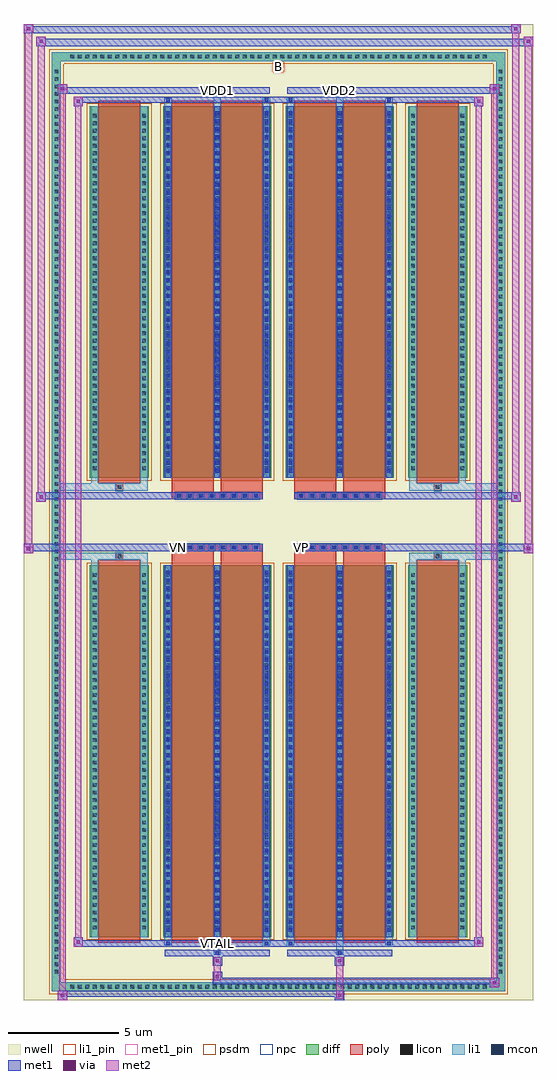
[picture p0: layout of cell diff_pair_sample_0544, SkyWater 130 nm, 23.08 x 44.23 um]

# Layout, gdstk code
import gdstk
lib = gdstk.Library(unit=1e-6, precision=5e-09)
def R(c, l, rs):  # rectangles x0, y0, x1, y1
    for r in rs: c.add(gdstk.rectangle(r[:2], r[2:], *l))
def A(c, l, x, y, w, h, nx, ny, dx, dy):  # array of equal rectangles
    R(c, l, [(x+i*dx, y+j*dy, x+i*dx+w, y+j*dy+h) for i in range(nx) for j in range(ny)])
def P(c, l, *ps):  # polygons
    for p in ps: c.add(gdstk.Polygon(p, *l))
nwell = (64, 20)
diff = (65, 20)
poly = (66, 20)
licon = (66, 44)
li1_pin = (67, 16)
li1 = (67, 20)
mcon = (67, 44)
met1_pin = (68, 16)
met1 = (68, 20)
via = (68, 44)
met2 = (69, 20)
psdm = (94, 20)
npc = (95, 20)

diff_pair_sample_0544 = lib.new_cell('diff_pair_sample_0544')
R(diff_pair_sample_0544, nwell, [(-11.54,-21.68,11.54,22.55), (-8.86,-19.87,-0.01,-0.805), (0.01,-19.87,8.86,-0.805), (-8.86,0.805,-0.01,19.87), (0.01,0.805,8.86,19.87)])
A(diff_pair_sample_0544, diff, -9.555, -21.28, 0.41, 0.41, 56, 2, 0.34, 42.15)
A(diff_pair_sample_0544, diff, -10.27, -20.605, 0.41, 0.41, 1, 121, 0, 0.34)
A(diff_pair_sample_0544, diff, 9.86, -20.605, 0.41, 0.41, 1, 121, 0, 0.34)
R(diff_pair_sample_0544, diff, [(-9.555,-21.28,9.555,-20.87), (-10.27,-20.605,-9.86,20.605), (9.86,-20.605,10.27,20.605), (-8.55,-18.825,-5.87,-1.985), (-5.23,-18.825,-0.32,-1.985), (0.32,-18.825,5.23,-1.985), (5.87,-18.825,8.55,-1.985), (-8.55,1.985,-5.87,18.825), (-5.23,1.985,-0.32,18.825), (0.32,1.985,5.23,18.825), (5.87,1.985,8.55,18.825), (-9.555,20.87,9.555,21.28)])
P(diff_pair_sample_0544, diff, [(10.27,21.28),(-10.27,21.28),(-10.27,-20.87),(-9.86,-20.87),(-9.86,20.87),(9.86,20.87),(9.86,-20.87),(-9.86,-20.87),(-10.27,-20.87),(-10.27,-21.28),(10.27,-21.28)])
A(diff_pair_sample_0544, poly, -4.69, -1.335, 0.33, 0.33, 8, 2, 0.5, 2.34)
A(diff_pair_sample_0544, poly, 0.86, -1.335, 0.33, 0.33, 8, 2, 0.5, 2.34)
R(diff_pair_sample_0544, poly, [(-8.16,-19.075,-6.26,-1.735), (-4.84,-19.075,-2.94,-1.735), (-2.61,-19.075,-0.71,-1.735), (0.71,-19.075,2.61,-1.735), (2.94,-19.075,4.84,-1.735), (6.26,-19.075,8.16,-1.735), (-7.375,-1.735,-7.045,-1.405), (-7.375,-1.735,-7.045,-1.405), (-4.84,-1.735,-2.94,-1.335), (-2.61,-1.735,-0.71,-1.335), (0.71,-1.735,2.61,-1.335), (2.94,-1.735,4.84,-1.335), (7.045,-1.735,7.375,-1.405), (7.045,-1.735,7.375,-1.405), (-4.84,-1.335,-0.71,-1.005), (0.71,-1.335,4.84,-1.005), (-4.84,1.005,-0.71,1.335), (0.71,1.005,4.84,1.335), (-4.84,1.335,-2.94,1.735), (-2.61,1.335,-0.71,1.735), (0.71,1.335,2.61,1.735), (2.94,1.335,4.84,1.735), (-7.375,1.405,-7.045,1.735), (-7.375,1.405,-7.045,1.735), (7.045,1.405,7.375,1.735), (7.045,1.405,7.375,1.735), (-8.16,1.735,-6.26,19.075), (-4.84,1.735,-2.94,19.075), (-2.61,1.735,-0.71,19.075), (0.71,1.735,2.61,19.075), (2.94,1.735,4.84,19.075), (6.26,1.735,8.16,19.075)])
A(diff_pair_sample_0544, licon, -9.435, -21.16, 0.17, 0.17, 56, 2, 0.34, 42.15)
A(diff_pair_sample_0544, licon, -10.15, -20.485, 0.17, 0.17, 1, 121, 0, 0.34)
A(diff_pair_sample_0544, licon, 9.98, -20.485, 0.17, 0.17, 1, 121, 0, 0.34)
A(diff_pair_sample_0544, licon, -8.41, -18.48, 0.17, 0.17, 1, 48, 0, 0.34)
A(diff_pair_sample_0544, licon, -6.18, -18.48, 0.17, 0.17, 1, 48, 0, 0.34)
A(diff_pair_sample_0544, licon, -5.09, -18.48, 0.17, 0.17, 3, 48, 2.23, 0.34)
A(diff_pair_sample_0544, licon, 0.46, -18.48, 0.17, 0.17, 3, 48, 2.23, 0.34)
A(diff_pair_sample_0544, licon, 6.01, -18.48, 0.17, 0.17, 1, 48, 0, 0.34)
A(diff_pair_sample_0544, licon, 8.24, -18.48, 0.17, 0.17, 1, 48, 0, 0.34)
A(diff_pair_sample_0544, licon, -4.61, -1.255, 0.17, 0.17, 8, 2, 0.5, 2.34)
A(diff_pair_sample_0544, licon, 0.94, -1.255, 0.17, 0.17, 8, 2, 0.5, 2.34)
A(diff_pair_sample_0544, licon, -8.41, 2.33, 0.17, 0.17, 1, 48, 0, 0.34)
A(diff_pair_sample_0544, licon, -6.18, 2.33, 0.17, 0.17, 1, 48, 0, 0.34)
A(diff_pair_sample_0544, licon, -5.09, 2.33, 0.17, 0.17, 3, 48, 2.23, 0.34)
A(diff_pair_sample_0544, licon, 0.46, 2.33, 0.17, 0.17, 3, 48, 2.23, 0.34)
A(diff_pair_sample_0544, licon, 6.01, 2.33, 0.17, 0.17, 1, 48, 0, 0.34)
A(diff_pair_sample_0544, licon, 8.24, 2.33, 0.17, 0.17, 1, 48, 0, 0.34)
R(diff_pair_sample_0544, licon, [(-7.295,-1.655,-7.125,-1.485), (7.125,-1.655,7.295,-1.485), (-7.295,1.485,-7.125,1.655), (7.125,1.485,7.295,1.655)])
R(diff_pair_sample_0544, li1_pin, [(-0.25,20.37,0.25,20.87)])
A(diff_pair_sample_0544, li1, -9.515, -21.24, 0.33, 0.33, 56, 2, 0.34, 42.15)
A(diff_pair_sample_0544, li1, -10.23, -20.565, 0.33, 0.33, 1, 121, 0, 0.34)
A(diff_pair_sample_0544, li1, 9.9, -20.565, 0.33, 0.33, 1, 121, 0, 0.34)
A(diff_pair_sample_0544, li1, -5.17, -18.825, 0.33, 16.84, 3, 2, 2.23, 20.81)
A(diff_pair_sample_0544, li1, 0.38, -18.825, 0.33, 16.84, 3, 2, 2.23, 20.81)
A(diff_pair_sample_0544, li1, -5.09, -18.59, 0.17, 0.17, 3, 46, 2.23, 0.36)
A(diff_pair_sample_0544, li1, -5.09, -18.59, 0.17, 16.37, 3, 2, 2.23, 20.81)
A(diff_pair_sample_0544, li1, 0.46, -18.59, 0.17, 0.17, 3, 46, 2.23, 0.36)
A(diff_pair_sample_0544, li1, 0.46, -18.59, 0.17, 16.37, 3, 2, 2.23, 20.81)
A(diff_pair_sample_0544, li1, -8.49, -18.56, 0.33, 0.33, 1, 48, 0, 0.34)
A(diff_pair_sample_0544, li1, -6.26, -18.56, 0.33, 0.33, 1, 48, 0, 0.34)
A(diff_pair_sample_0544, li1, -5.17, -18.56, 0.33, 0.33, 3, 48, 2.23, 0.34)
A(diff_pair_sample_0544, li1, 0.38, -18.56, 0.33, 0.33, 3, 48, 2.23, 0.34)
A(diff_pair_sample_0544, li1, 5.93, -18.56, 0.33, 0.33, 1, 48, 0, 0.34)
A(diff_pair_sample_0544, li1, 8.16, -18.56, 0.33, 0.33, 1, 48, 0, 0.34)
A(diff_pair_sample_0544, li1, -4.69, -1.335, 0.33, 0.33, 8, 2, 0.5, 2.34)
A(diff_pair_sample_0544, li1, 0.86, -1.335, 0.33, 0.33, 8, 2, 0.5, 2.34)
A(diff_pair_sample_0544, li1, -5.09, 2.22, 0.17, 0.17, 3, 46, 2.23, 0.36)
A(diff_pair_sample_0544, li1, 0.46, 2.22, 0.17, 0.17, 3, 46, 2.23, 0.36)
A(diff_pair_sample_0544, li1, -8.49, 2.25, 0.33, 0.33, 1, 48, 0, 0.34)
A(diff_pair_sample_0544, li1, -6.26, 2.25, 0.33, 0.33, 1, 48, 0, 0.34)
A(diff_pair_sample_0544, li1, -5.17, 2.25, 0.33, 0.33, 3, 48, 2.23, 0.34)
A(diff_pair_sample_0544, li1, 0.38, 2.25, 0.33, 0.33, 3, 48, 2.23, 0.34)
A(diff_pair_sample_0544, li1, 5.93, 2.25, 0.33, 0.33, 1, 48, 0, 0.34)
A(diff_pair_sample_0544, li1, 8.16, 2.25, 0.33, 0.33, 1, 48, 0, 0.34)
R(diff_pair_sample_0544, li1, [(-10.27,-21.28,-9.86,-20.87), (-10.27,-21.28,-9.86,-20.87), (-9.86,-21.28,9.86,-20.87), (9.86,-21.28,10.27,-20.87), (9.86,-21.28,10.27,-20.87), (-10.27,-20.87,-9.86,20.87), (9.86,-20.87,10.27,20.87), (-2.94,-19.63,-2.61,-18.825), (-2.86,-19.63,-2.69,-19.46), (2.61,-19.63,2.94,-18.825), (2.69,-19.63,2.86,-19.46), (-5.17,-19.2,-4.84,-18.825), (-5.09,-19.2,-4.92,-19.03), (-0.71,-19.2,-0.38,-18.825), (-0.63,-19.2,-0.46,-19.03), (0.38,-19.2,0.71,-18.825), (0.46,-19.2,0.63,-19.03), (4.84,-19.2,5.17,-18.825), (4.92,-19.2,5.09,-19.03), (-8.49,-18.825,-8.16,-1.985), (-6.26,-18.825,-5.93,-1.985), (5.93,-18.825,6.26,-1.985), (8.16,-18.825,8.49,-1.985), (-8.49,-1.985,-8.16,-1.405), (-6.26,-1.985,-5.93,-1.405), (5.93,-1.985,6.26,-1.405), (8.16,-1.985,8.49,-1.405), (-10.27,-1.735,-7.375,-1.405), (-8.49,-1.735,-7.375,-1.405), (-7.375,-1.735,-7.045,-1.405), (-7.045,-1.735,-5.93,-1.405), (5.93,-1.735,7.045,-1.405), (7.045,-1.735,7.375,-1.405), (7.045,-1.735,10.27,-1.405), (7.375,-1.735,8.49,-1.405), (-10.27,1.405,-7.375,1.735), (-8.49,1.405,-7.375,1.735), (-8.49,1.405,-8.16,1.985), (-7.375,1.405,-7.045,1.735), (-7.045,1.405,-5.93,1.735), (-6.26,1.405,-5.93,1.985), (5.93,1.405,7.045,1.735), (5.93,1.405,6.26,1.985), (7.045,1.405,7.375,1.735), (7.045,1.405,10.27,1.735), (7.375,1.405,8.49,1.735), (8.16,1.405,8.49,1.985), (-8.49,1.985,-8.16,18.825), (-6.26,1.985,-5.93,18.825), (5.93,1.985,6.26,18.825), (8.16,1.985,8.49,18.825), (-5.17,18.825,-4.84,19.2), (-2.94,18.825,-2.61,19.63), (-0.71,18.825,-0.38,19.2), (0.38,18.825,0.71,19.2), (2.61,18.825,2.94,19.63), (4.84,18.825,5.17,19.2), (-5.09,19.03,-4.92,19.2), (-0.63,19.03,-0.46,19.2), (0.46,19.03,0.63,19.2), (4.92,19.03,5.09,19.2), (-2.86,19.46,-2.69,19.63), (2.69,19.46,2.86,19.63), (-10.27,20.87,-9.86,21.28), (-10.27,20.87,-9.86,21.28), (-9.86,20.87,9.86,21.28), (9.86,20.87,10.27,21.28), (9.86,20.87,10.27,21.28)])
A(diff_pair_sample_0544, mcon, -5.09, -18.59, 0.17, 0.17, 3, 46, 2.23, 0.36)
A(diff_pair_sample_0544, mcon, 0.46, -18.59, 0.17, 0.17, 3, 46, 2.23, 0.36)
A(diff_pair_sample_0544, mcon, -4.61, -1.255, 0.17, 0.17, 8, 2, 0.5, 2.34)
A(diff_pair_sample_0544, mcon, 0.94, -1.255, 0.17, 0.17, 8, 2, 0.5, 2.34)
A(diff_pair_sample_0544, mcon, -5.09, 2.22, 0.17, 0.17, 3, 46, 2.23, 0.36)
A(diff_pair_sample_0544, mcon, 0.46, 2.22, 0.17, 0.17, 3, 46, 2.23, 0.36)
R(diff_pair_sample_0544, mcon, [(-2.86,-19.63,-2.69,-19.46), (2.69,-19.63,2.86,-19.46), (-5.09,-19.2,-4.92,-19.03), (-0.63,-19.2,-0.46,-19.03), (0.46,-19.2,0.63,-19.03), (4.92,-19.2,5.09,-19.03), (-5.09,19.03,-4.92,19.2), (-0.63,19.03,-0.46,19.2), (0.46,19.03,0.63,19.2), (4.92,19.03,5.09,19.2), (-2.86,19.46,-2.69,19.63), (2.69,19.46,2.86,19.63)])
R(diff_pair_sample_0544, met1_pin, [(-2.91,-19.24,-2.64,-18.97), (-4.66,-1.295,-4.39,-1.025), (0.89,-1.295,1.16,-1.025), (-2.91,19.42,-2.64,19.69), (2.64,19.42,2.91,19.69)])
A(diff_pair_sample_0544, met1, -5.15, -18.825, 0.29, 16.84, 3, 2, 2.23, 20.81)
A(diff_pair_sample_0544, met1, 0.4, -18.825, 0.29, 16.84, 3, 2, 2.23, 20.81)
A(diff_pair_sample_0544, met1, -5.15, -18.65, 0.29, 0.29, 3, 46, 2.23, 0.36)
A(diff_pair_sample_0544, met1, 0.4, -18.65, 0.29, 0.29, 3, 46, 2.23, 0.36)
A(diff_pair_sample_0544, met1, -4.67, -1.315, 0.29, 0.29, 8, 2, 0.5, 2.34)
A(diff_pair_sample_0544, met1, 0.88, -1.315, 0.29, 0.29, 8, 2, 0.5, 2.34)
A(diff_pair_sample_0544, met1, -5.15, 2.16, 0.29, 0.29, 3, 46, 2.23, 0.36)
A(diff_pair_sample_0544, met1, 0.4, 2.16, 0.29, 0.29, 3, 46, 2.23, 0.36)
R(diff_pair_sample_0544, met1, [(-10,-21.68,-9.57,-21.25), (2.56,-21.68,2.99,-21.25), (-10,-21.54,2.99,-21.25), (9.57,-21.11,10,-20.68), (-2.99,-20.97,10,-20.68), (-2.99,-20.83,-2.56,-20.4), (-2.99,-20.12,-2.56,-19.69), (2.56,-20.12,2.99,-19.69), (-5.15,-19.69,-0.4,-19.4), (-2.92,-19.69,-2.63,-19.4), (0.4,-19.69,5.15,-19.4), (2.63,-19.69,2.92,-19.4), (-9.29,-19.26,-8.86,-18.83), (-9.29,-19.26,-5.15,-18.97), (-5.15,-19.26,-4.86,-18.97), (-5.15,-19.26,-0.4,-18.97), (-0.69,-19.26,-0.4,-18.97), (-0.4,-19.26,0.4,-18.97), (0.4,-19.26,0.69,-18.97), (0.4,-19.26,5.15,-18.97), (4.86,-19.26,5.15,-18.97), (5.15,-19.26,9.29,-18.97), (8.86,-19.26,9.29,-18.83), (-11.54,-1.435,-11.11,-1.005), (11.11,-1.435,11.54,-1.005), (-11.54,-1.335,-0.71,-1.005), (-4.84,-1.335,-0.71,-1.005), (0.71,-1.335,4.84,-1.005), (0.71,-1.335,11.54,-1.005), (-10.97,0.905,-10.54,1.335), (10.54,0.905,10.97,1.335), (-10.97,1.005,-4.84,1.335), (-4.84,1.005,-0.71,1.335), (0.71,1.005,4.84,1.335), (4.84,1.005,10.97,1.335), (-9.29,18.83,-8.86,19.26), (8.86,18.83,9.29,19.26), (-9.29,18.97,-5.15,19.26), (-5.15,18.97,-4.86,19.26), (-5.15,18.97,-0.4,19.26), (-0.69,18.97,-0.4,19.26), (-0.4,18.97,0.4,19.26), (0.4,18.97,0.69,19.26), (0.4,18.97,5.15,19.26), (4.86,18.97,5.15,19.26), (5.15,18.97,9.29,19.26), (-10,19.4,-9.57,19.83), (-10,19.4,-5.15,19.69), (-5.15,19.4,-0.4,19.69), (-2.92,19.4,-2.63,19.69), (0.4,19.4,5.15,19.69), (2.63,19.4,2.92,19.69), (5.15,19.4,10,19.69), (9.57,19.4,10,19.83), (-10.97,21.55,-10.54,21.98), (-10.97,21.55,-8.86,21.88), (-8.86,21.55,8.86,21.88), (8.86,21.55,11.54,21.88), (11.11,21.55,11.54,21.98), (-11.54,22.12,-11.11,22.55), (-11.54,22.12,-8.86,22.45), (-8.86,22.12,8.86,22.45), (8.86,22.12,10.97,22.45), (10.54,22.12,10.97,22.55)])
R(diff_pair_sample_0544, via, [(-9.86,-21.54,-9.71,-21.39), (2.7,-21.54,2.85,-21.39), (9.71,-20.97,9.86,-20.82), (-2.85,-20.69,-2.7,-20.54), (-2.85,-19.98,-2.7,-19.83), (2.7,-19.98,2.85,-19.83), (-9.15,-19.12,-9,-18.97), (9,-19.12,9.15,-18.97), (-11.4,-1.295,-11.25,-1.145), (11.25,-1.295,11.4,-1.145), (-10.83,1.045,-10.68,1.195), (10.68,1.045,10.83,1.195), (-9.15,18.97,-9,19.12), (9,18.97,9.15,19.12), (-9.86,19.54,-9.71,19.69), (9.71,19.54,9.86,19.69), (-10.83,21.69,-10.68,21.84), (11.25,21.69,11.4,21.84), (-11.4,22.26,-11.25,22.41), (10.68,22.26,10.83,22.41)])
R(diff_pair_sample_0544, met2, [(-10,-21.68,-9.57,-21.25), (-9.93,-21.68,-9.64,19.83), (-9.64,-21.68,-9.57,-21.25), (-9.95,-21.63,-9.62,-21.3), (2.61,-21.63,2.94,-21.3), (2.61,-21.3,2.94,-20.07), (9.57,-21.11,10,-20.68), (9.64,-21.11,9.93,19.83), (9.93,-21.11,10,-20.68), (9.62,-21.06,9.95,-20.73), (-2.94,-20.78,-2.61,-20.45), (-2.94,-20.45,-2.61,-20.07), (-2.94,-20.07,-2.61,-19.74), (2.61,-20.07,2.94,-19.74), (-9.29,-19.26,-8.86,-18.83), (-9.22,-19.26,-8.93,19.26), (-8.93,-19.26,-8.86,-18.83), (8.86,-19.26,9.29,-18.83), (8.93,-19.26,9.22,19.26), (9.22,-19.26,9.29,-18.83), (-9.24,-19.21,-8.91,-18.88), (8.91,-19.21,9.24,-18.88), (-11.54,-1.435,-11.11,-1.005), (-11.49,-1.435,-11.16,22.55), (-11.16,-1.435,-11.11,-1.005), (11.11,-1.435,11.54,-1.005), (11.16,-1.435,11.49,21.98), (11.49,-1.435,11.54,-1.005), (-11.49,-1.385,-11.16,-1.055), (11.16,-1.385,11.49,-1.055), (-10.97,0.905,-10.54,1.335), (-10.92,0.905,-10.59,21.98), (-10.59,0.905,-10.54,1.335), (10.54,0.905,10.97,1.335), (10.59,0.905,10.92,22.55), (10.92,0.905,10.97,1.335), (-10.92,0.955,-10.59,1.285), (10.59,0.955,10.92,1.285), (-9.29,18.83,-8.86,19.26), (-8.93,18.83,-8.86,19.26), (8.86,18.83,9.29,19.26), (9.22,18.83,9.29,19.26), (-9.24,18.88,-8.91,19.21), (8.91,18.88,9.24,19.21), (-10,19.4,-9.57,19.83), (-9.64,19.4,-9.57,19.83), (9.57,19.4,10,19.83), (9.93,19.4,10,19.83), (-9.95,19.45,-9.62,19.78), (9.62,19.45,9.95,19.78), (-10.97,21.55,-10.54,21.98), (-10.59,21.55,-10.54,21.98), (11.11,21.55,11.54,21.98), (11.49,21.55,11.54,21.98), (-10.92,21.6,-10.59,21.93), (11.16,21.6,11.49,21.93), (-11.54,22.12,-11.11,22.55), (-11.16,22.12,-11.11,22.55), (10.54,22.12,10.97,22.55), (10.92,22.12,10.97,22.55), (-11.49,22.17,-11.16,22.5), (10.59,22.17,10.92,22.5)])
R(diff_pair_sample_0544, psdm, [(-8.68,-18.955,-5.74,-1.855), (-5.36,-18.955,-0.19,-1.855), (0.19,-18.955,5.36,-1.855), (5.74,-18.955,8.68,-1.855), (-8.68,1.855,-5.74,18.955), (-5.36,1.855,-0.19,18.955), (0.19,1.855,5.36,18.955), (5.74,1.855,8.68,18.955)])
P(diff_pair_sample_0544, psdm, [(10.4,21.41),(-10.4,21.41),(-10.4,-20.74),(-9.73,-20.74),(-9.73,20.74),(9.73,20.74),(9.73,-20.74),(-9.73,-20.74),(-10.4,-20.74),(-10.4,-21.41),(10.4,-21.41)])
A(diff_pair_sample_0544, npc, -4.71, -1.355, 0.37, 0.37, 8, 2, 0.5, 2.34)
A(diff_pair_sample_0544, npc, 0.84, -1.355, 0.37, 0.37, 8, 2, 0.5, 2.34)
R(diff_pair_sample_0544, npc, [(-7.395,-1.755,-7.025,-1.385), (7.025,-1.755,7.395,-1.385), (-4.71,-1.355,-3.84,-0.985), (-4.71,-1.355,-3.84,-0.985), (-4.21,-1.355,-3.34,-0.985), (-4.21,-1.355,-3.34,-0.985), (-3.71,-1.355,-2.84,-0.985), (-3.71,-1.355,-2.84,-0.985), (-3.21,-1.355,-2.34,-0.985), (-3.21,-1.355,-2.34,-0.985), (-2.71,-1.355,-1.84,-0.985), (-2.71,-1.355,-1.84,-0.985), (-2.21,-1.355,-1.34,-0.985), (-2.21,-1.355,-1.34,-0.985), (-1.71,-1.355,-0.84,-0.985), (-1.71,-1.355,-0.84,-0.985), (0.84,-1.355,1.71,-0.985), (0.84,-1.355,1.71,-0.985), (1.34,-1.355,2.21,-0.985), (1.34,-1.355,2.21,-0.985), (1.84,-1.355,2.71,-0.985), (1.84,-1.355,2.71,-0.985), (2.34,-1.355,3.21,-0.985), (2.34,-1.355,3.21,-0.985), (2.84,-1.355,3.71,-0.985), (2.84,-1.355,3.71,-0.985), (3.34,-1.355,4.21,-0.985), (3.34,-1.355,4.21,-0.985), (3.84,-1.355,4.71,-0.985), (3.84,-1.355,4.71,-0.985), (-4.71,0.985,-3.84,1.355), (-4.71,0.985,-3.84,1.355), (-4.21,0.985,-3.34,1.355), (-4.21,0.985,-3.34,1.355), (-3.71,0.985,-2.84,1.355), (-3.71,0.985,-2.84,1.355), (-3.21,0.985,-2.34,1.355), (-3.21,0.985,-2.34,1.355), (-2.71,0.985,-1.84,1.355), (-2.71,0.985,-1.84,1.355), (-2.21,0.985,-1.34,1.355), (-2.21,0.985,-1.34,1.355), (-1.71,0.985,-0.84,1.355), (-1.71,0.985,-0.84,1.355), (0.84,0.985,1.71,1.355), (0.84,0.985,1.71,1.355), (1.34,0.985,2.21,1.355), (1.34,0.985,2.21,1.355), (1.84,0.985,2.71,1.355), (1.84,0.985,2.71,1.355), (2.34,0.985,3.21,1.355), (2.34,0.985,3.21,1.355), (2.84,0.985,3.71,1.355), (2.84,0.985,3.71,1.355), (3.34,0.985,4.21,1.355), (3.34,0.985,4.21,1.355), (3.84,0.985,4.71,1.355), (3.84,0.985,4.71,1.355), (-7.395,1.385,-7.025,1.755), (7.025,1.385,7.395,1.755)])
diff_pair_sample_0544.add(gdstk.Label('VTAIL', (-2.775,-19.105), layer=68, texttype=5))
diff_pair_sample_0544.add(gdstk.Label('VN', (-4.525,-1.16), layer=68, texttype=5))
diff_pair_sample_0544.add(gdstk.Label('VP', (1.025,-1.16), layer=68, texttype=5))
diff_pair_sample_0544.add(gdstk.Label('B', (0,20.62), layer=67, texttype=5))
diff_pair_sample_0544.add(gdstk.Label('VDD2', (2.775,19.555), layer=68, texttype=5))
diff_pair_sample_0544.add(gdstk.Label('VDD1', (-2.775,19.555), layer=68, texttype=5))

lib.write_gds('diff_pair_sample_0544.gds')
